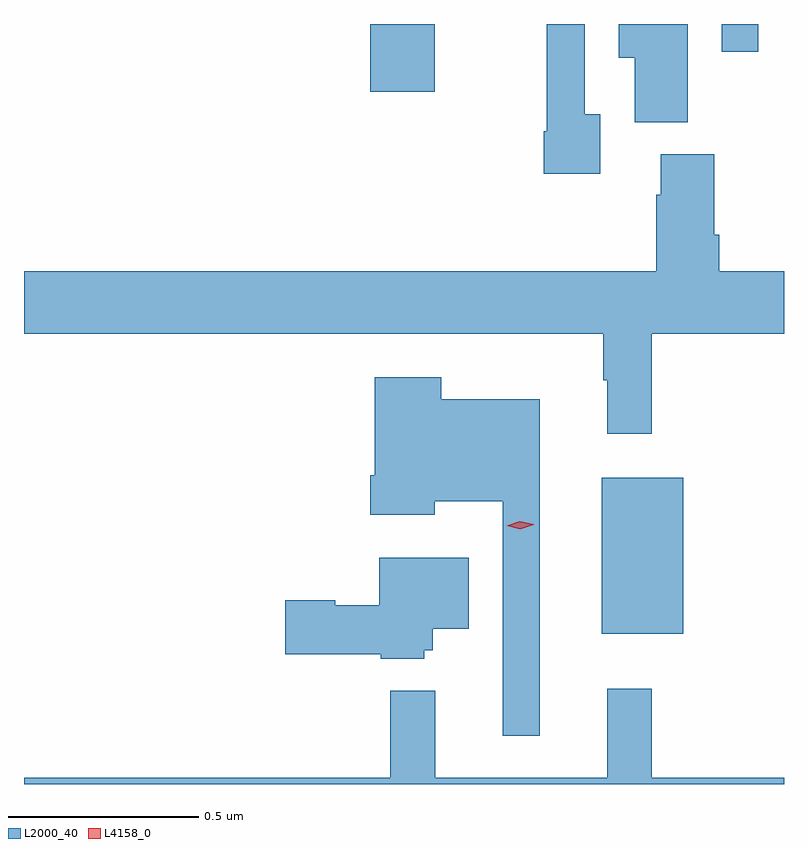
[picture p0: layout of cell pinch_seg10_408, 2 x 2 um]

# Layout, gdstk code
import gdstk
lib = gdstk.Library(unit=1e-6, precision=1e-09)
def R(c, l, rs):  # rectangles x0, y0, x1, y1
    for r in rs: c.add(gdstk.rectangle(r[:2], r[2:], *l))
def P(c, l, *ps):  # polygons
    for p in ps: c.add(gdstk.Polygon(p, *l))
L2000_40 = (2000, 40)
L4158_0 = (4158, 0)

pinch_seg10_408 = lib.new_cell('pinch_seg10_408')
R(pinch_seg10_408, L2000_40, [(555.551,1254.239,555.766,1254.649), (554.942,1255.665,555.112,1255.843), (555.867,1255.77,555.963,1255.843)])
P(pinch_seg10_408, L2000_40, [(555.547,1255.605),(555.507,1255.605),(555.507,1255.843),(555.406,1255.843),(555.406,1255.561),(555.399,1255.561),(555.399,1255.449),(555.547,1255.449)],
  [(555.778,1255.843),(555.596,1255.843),(555.596,1255.754),(555.638,1255.754),(555.638,1255.585),(555.778,1255.585)],
  [(555.683,1255.028),(556.031,1255.028),(556.031,1255.192),(555.86,1255.192),(555.86,1255.288),(555.847,1255.288),(555.847,1255.5),(555.707,1255.5),(555.707,1255.394),(555.695,1255.394),(555.695,1255.192),(554.031,1255.192),(554.031,1255.028),(555.555,1255.028),(555.555,1254.905),(555.566,1254.905),(555.566,1254.765),(555.683,1254.765)],
  [(555.388,1254.856),(555.129,1254.856),(555.129,1254.913),(554.954,1254.913),(554.954,1254.655),(554.942,1254.655),(554.942,1254.551),(555.112,1254.551),(555.112,1254.587),(555.291,1254.587),(555.291,1253.97),(555.388,1253.97)],
  [(555.084,1254.195),(555.106,1254.195),(555.106,1254.251),(555.202,1254.251),(555.202,1254.439),(554.966,1254.439),(554.966,1254.313),(554.85,1254.313),(554.85,1254.326),(554.718,1254.326),(554.718,1254.184),(554.97,1254.184),(554.97,1254.173),(555.084,1254.173)],
  [(556.031,1253.86),(555.683,1253.86),(555.683,1254.094),(555.566,1254.094),(555.566,1253.86),(555.113,1253.86),(555.113,1254.088),(554.995,1254.088),(554.995,1253.86),(554.031,1253.86),(554.031,1253.843),(556.031,1253.843)])
P(pinch_seg10_408, L4158_0, [(555.337,1254.514),(555.301,1254.522),(555.301,1254.523),(555.301,1254.523),(555.336,1254.534),(555.372,1254.526),(555.373,1254.525),(555.372,1254.525)])

lib.write_gds('pinch_seg10_408.gds')
